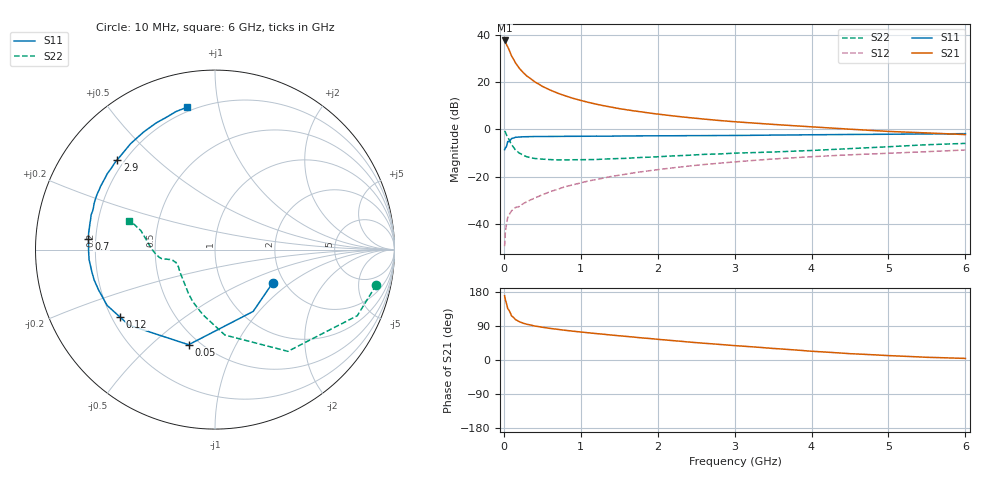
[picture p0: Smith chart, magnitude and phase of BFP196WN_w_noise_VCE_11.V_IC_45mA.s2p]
! Infineon Technologies  Discrete & RF Semiconductors
! BFP196WN
! VCE =  11. V,  IC =  45 mA
! Common Emitter S-Parameters:  Jan 2017
# GHz  S  MA  R  50
!  f  S11  S21  S12  S22
! GHz  MAG  ANG  MAG  ANG  MAG  ANG  MAG  ANG
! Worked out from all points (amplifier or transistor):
!   77 points, 10 MHz to 6 GHz, reference 50 ohm
!   highest |S21| = 37.5 dB at 10 MHz (marker M1)
!   |S21| within 3 dB of that: start of sweep to 54.77 MHz
!   unconditionally stable (mu >= 1): 688.4 MHz to 2.717 GHz
!   at 130 MHz: K = 0.48, MSG = 31.5 dB, |S12| = -33.6 dB
!   at 2.2 GHz: K = 1.02, MAG = 10.0 dB, |S12| = -16.3 dB
!   at 6 GHz: K = 0.89, MSG = 3.3 dB, |S12| = -8.7 dB
!   lowest NFmin = 1.22 dB at 450 MHz
!   S11 on the Smith chart (normalised r, x): 10 MHz: 1.74, -0.75; 50 MHz: 0.44, -0.66; 120 MHz: 0.23, -0.30; 700 MHz: 0.17, +0.04; 2.9 GHz: 0.17, +0.38; 6 GHz: 0.18, +0.81
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0.01  0.3709 -30.1  75.16 169.5  0.0034 72.3  0.9196 -12.4
0.02  0.4048 -58.3  69.67 158.8  0.0068 71.9  0.8742 -24.9
0.05  0.55 -105.5  55.32 135.9  0.0136 53.3  0.6973 -54.4
0.1  0.6379 -138.7  35.49 116.3  0.019 48.5  0.479 -83.4
0.12  0.6487 -144.5  31.38 113.3  0.0203 47.5  0.4303 -89.2
0.15  0.6768 -152.7  25.45 106.9  0.0222 46.2  0.3682 -100.7
0.2  0.6865 -160.9  19.54 101.2  0.0234 48.7  0.3154 -113.2
0.25  0.6943 -165.9  15.85 97.2  0.0268 51.2  0.2845 -121.5
0.3  0.6973 -169.9  13.3 94.3  0.0296 53.6  0.2619 -128.8
0.4  0.7037 -175.4  10.09 89.7  0.0352 58.3  0.2422 -138.3
0.5  0.7043 -179.2  8.092 86.4  0.0413 60.8  0.2342 -145.2
0.6  0.705 177.6  6.764 83.4  0.048 63.3  0.2292 -150.2
0.7  0.7076 175.0  5.795 80.9  0.054 64.7  0.2254 -153.5
0.9  0.7104 170.0  4.507 76.0  0.0671 66.0  0.2274 -158.1
1.1  0.7131 166.3  3.701 71.8  0.081 66.7  0.2288 -161.4
1.5  0.7209 159.2  2.735 63.9  0.1072 66.2  0.2409 -165.5
2.1  0.7289 149.4  2.004 52.9  0.147 63.3  0.2683 -168.4
2.9  0.7395 137.4  1.488 39.6  0.1983 57.9  0.3073 -171.3
3.1  0.7425 134.4  1.407 36.6  0.2108 56.3  0.3169 -172.9
4.1  0.768 120.0  1.101 21.9  0.2685 48.2  0.3633 176.9
5.1  0.7883 109.1  0.888 10.8  0.3166 40.9  0.4365 164.9
6  0.8083 101.0  0.773 4.2  0.3656 34.9  0.5034 161.6
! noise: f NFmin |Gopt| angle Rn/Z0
0.45  1.22  0.52  -178  0.05
0.9  1.34  0.55  -172  0.05
1.9  2.26  0.68  -148  0.14
2.4  2.99  0.69  -141  0.27
